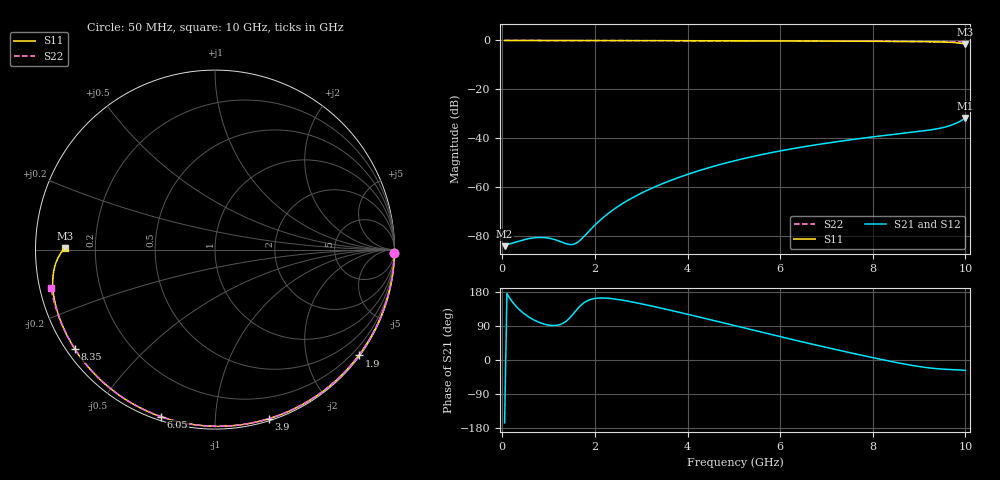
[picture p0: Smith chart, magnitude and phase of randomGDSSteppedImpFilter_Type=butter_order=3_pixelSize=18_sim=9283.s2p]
! freq	dB(S11)	phase(S11)	dB(S12)	phase(S12)
!  dB(S21)	phase(S21)	dB(S22)	phase(S22)
!S-par simulation data
#  GHz  S  DB  R 50
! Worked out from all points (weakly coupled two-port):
!   200 points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, 50 MHz to 10 GHz, reference 50 ohm
!   highest |S21| = -31.69 dB at 10 GHz (marker M1); lowest = -84.2 dB at 50 MHz (marker M2)
!   lowest |S11| = -1.6 dB at 10 GHz (marker M3), VSWR 11.18, Z = 4.47 + j0.276 ohm
!   |S11| at or under -10 dB: nowhere
!   |S22| runs from -0.6 to 0.0 dB; largest |S21 - S12| = 0
!   S11 on the Smith chart (normalised r, x): 50 MHz: open; 1.9 GHz: 0.03, -3.04; 3.9 GHz: 0.02, -1.37; 6.05 GHz: 0.02, -0.73; 8.35 GHz: 0.02, -0.32; 10 GHz: 0.09, +0.01
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0.05  -0.00 -1.0  -84.24 -165.8  -84.24 -165.8  -0.00 -1.0
0.85  -0.02 -16.5  -80.66 96.9  -80.66 96.9  -0.02 -16.4
1.75  -0.04 -33.6  -80.56 149.9  -80.56 149.9  -0.04 -33.4
1.8  -0.04 -34.5  -79.57 154.0  -79.57 154.0  -0.04 -34.3
1.9  -0.05 -36.4  -77.55 159.5  -77.55 159.5  -0.05 -36.1
2.2  -0.05 -41.9  -72.18 163.6  -72.18 163.6  -0.05 -41.7
2.55  -0.06 -48.4  -67.34 158.8  -67.34 158.8  -0.06 -48.1
2.95  -0.07 -55.6  -63.02 149.6  -63.02 149.6  -0.07 -55.2
3.4  -0.08 -63.6  -59.10 137.7  -59.10 137.7  -0.08 -63.2
3.9  -0.10 -72.3  -55.49 123.6  -55.49 123.6  -0.10 -71.8
4.45  -0.12 -81.7  -52.16 107.6  -52.16 107.6  -0.12 -81.0
5.05  -0.14 -91.7  -49.11 89.8  -49.11 89.8  -0.14 -90.9
5.55  -0.16 -99.8  -46.95 74.9  -46.95 74.9  -0.16 -98.9
6.05  -0.19 -107.9  -45.07 60.2  -45.07 60.2  -0.19 -106.7
6.7  -0.23 -118.2  -42.95 41.6  -42.95 41.6  -0.23 -116.7
7.5  -0.29 -130.8  -40.73 19.5  -40.73 19.5  -0.29 -128.8
8.35  -0.38 -144.6  -38.70 -2.7  -38.70 -2.7  -0.36 -141.6
9  -0.47 -155.9  -37.28 -17.2  -37.28 -17.2  -0.43 -151.5
9.5  -0.63 -166.0  -35.75 -24.0  -35.75 -24.0  -0.49 -159.1
9.8  -0.93 -173.8  -33.90 -25.7  -33.90 -25.7  -0.53 -163.8
9.9  -1.16 -177.1  -32.93 -26.4  -32.93 -26.4  -0.54 -165.3
10  -1.56 179.4  -31.69 -27.6  -31.69 -27.6  -0.55 -166.9
